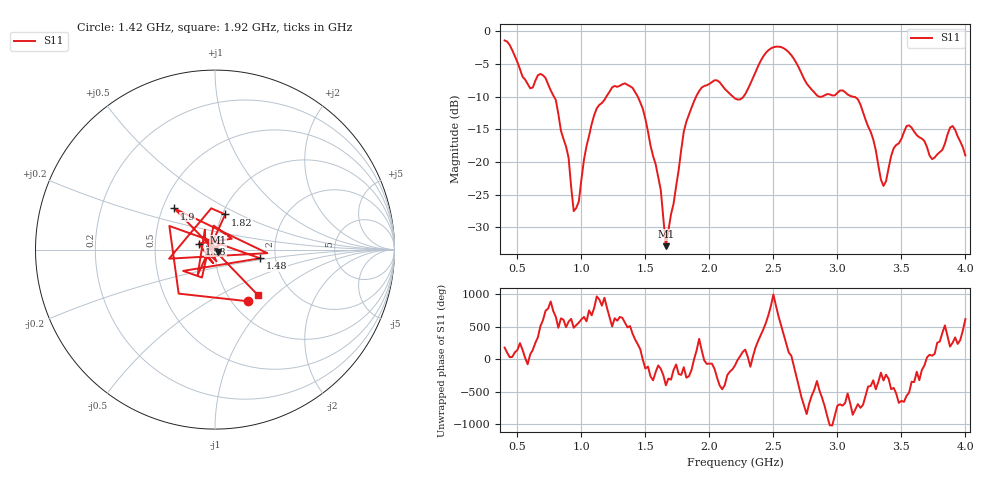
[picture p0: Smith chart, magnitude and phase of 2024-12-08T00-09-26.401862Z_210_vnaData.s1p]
!Created with skrf (http://scikit-rf.org).
# Hz S RI R 50.0
!freq ReS11 ImS11
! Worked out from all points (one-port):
!   181 points, 400 MHz to 4 GHz, reference 50 ohm
!   lowest |S11| = -32.9 dB at 1.66 GHz (marker M1), VSWR 1.05, Z = 51.6 - j1.62 ohm
!   |S11| at or under -10 dB: 786.3 MHz to 1.194 GHz (408.1 MHz wide, 41.2 % of centre); 1.441 GHz to 1.896 GHz (454.7 MHz wide, 27.3 % of centre); 3.126 GHz to end of sweep (the widest 3 of 5)
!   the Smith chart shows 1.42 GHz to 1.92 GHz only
!   S11 on the Smith chart (normalised r, x): 1.42 GHz: 1.18, -0.77; 1.48 GHz: 1.66, -0.17; 1.58 GHz: 0.83, +0.06; 1.82 GHz: 1.03, +0.42; 1.9 GHz: 0.57, +0.29; 1.92 GHz: 1.37, -0.79
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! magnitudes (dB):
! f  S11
! 400 MHz  -1.4
! 600 MHz  -8.7
! 720 MHz  -7.1
! 860 MHz  -16.5
! 900 MHz  -19.3
! 940 MHz  -27.5
! 1.1 GHz  -12.8
! 1.3 GHz  -8.3
! 1.42 GHz  -9.3
! 1.48 GHz  -11.8
! 1.58 GHz  -20.3
! 1.62 GHz  -24.2
! 1.66 GHz  -32.9
! 1.76 GHz  -21.2
! 1.82 GHz  -13.8
! 1.9 GHz  -9.8
! 1.92 GHz  -9.1
! 2.2 GHz  -10.3
! 2.48 GHz  -2.6
! 2.66 GHz  -4.2
! 2.84 GHz  -9.8
! 3.1 GHz  -9.9
! 3.26 GHz  -15.4
! 3.36 GHz  -23.6
! 3.56 GHz  -14.4
! 3.74 GHz  -19.5
! 3.9 GHz  -14.5
! 4 GHz  -19.0
